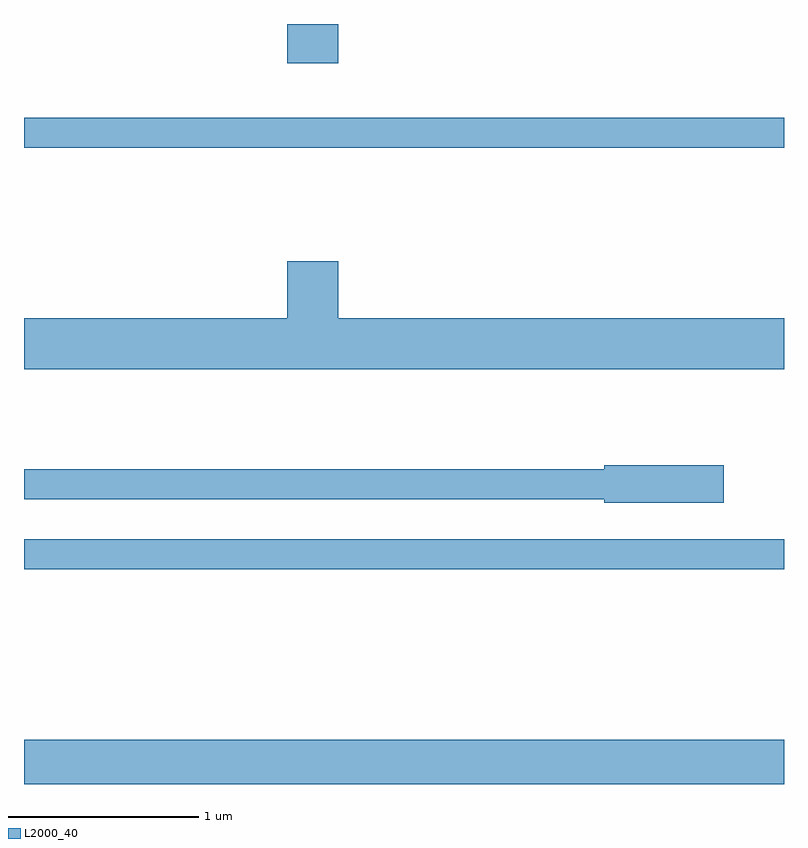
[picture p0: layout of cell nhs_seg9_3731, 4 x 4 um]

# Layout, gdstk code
import gdstk
lib = gdstk.Library(unit=1e-6, precision=1e-09)
def R(c, l, rs):  # rectangles x0, y0, x1, y1
    for r in rs: c.add(gdstk.rectangle(r[:2], r[2:], *l))
def P(c, l, *ps):  # polygons
    for p in ps: c.add(gdstk.Polygon(p, *l))
L2000_40 = (2000, 40)

nhs_seg9_3731 = lib.new_cell('nhs_seg9_3731')
R(nhs_seg9_3731, L2000_40, [(293.611,2078.432,297.611,2078.664), (293.611,2079.561,297.611,2079.719), (293.611,2081.781,297.611,2081.939), (294.996,2082.226,295.264,2082.432)])
P(nhs_seg9_3731, L2000_40, [(297.611,2080.884),(295.264,2080.884),(295.264,2081.184),(294.996,2081.184),(294.996,2080.884),(293.611,2080.884),(293.611,2080.616),(297.611,2080.616)],
  [(297.294,2080.109),(296.666,2080.109),(296.666,2080.089),(293.611,2080.089),(293.611,2079.931),(296.666,2079.931),(296.666,2079.911),(297.294,2079.911)])

lib.write_gds('nhs_seg9_3731.gds')
